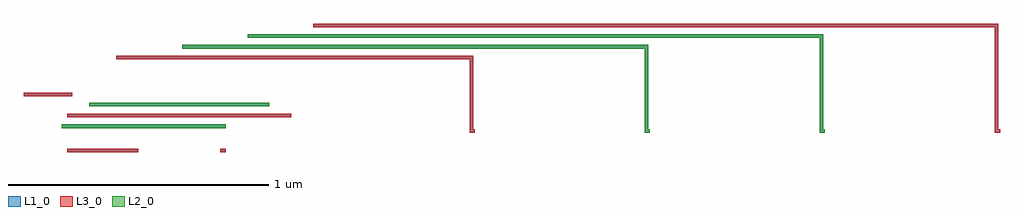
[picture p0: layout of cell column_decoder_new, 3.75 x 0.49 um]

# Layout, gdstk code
import gdstk
lib = gdstk.Library(unit=1e-6, precision=5e-10)
def R(c, l, rs):  # rectangles x0, y0, x1, y1
    for r in rs: c.add(gdstk.rectangle(r[:2], r[2:], *l))
def P(c, l, *ps):  # polygons
    for p in ps: c.add(gdstk.Polygon(p, *l))
L1_0 = (1, 0)
L2_0 = (2, 0)
L3_0 = (3, 0)

column_decoder_new = lib.new_cell('column_decoder_new')
R(column_decoder_new, L1_0, [(-1.493,0.062,-1.221,0.076), (-0.905,0.062,-0.885,0.076), (-1.514,0.1555,-0.885,0.1695), (-1.493,0.1975,-0.633,0.2115), (-1.409,0.2385,-0.717,0.2525), (-1.659,0.277,-1.473,0.291)])
P(column_decoder_new, L1_0, [(2.0825,0.557),(2.0825,0.151),(2.0885,0.151),(2.0885,0.137),(2.0685,0.137),(2.0685,0.543),(-0.548,0.543),(-0.548,0.557)],
  [(1.4105,0.516),(1.4105,0.151),(1.4165,0.151),(1.4165,0.137),(1.3965,0.137),(1.3965,0.502),(-0.8,0.502),(-0.8,0.516)],
  [(0.7385,0.475),(0.7385,0.151),(0.7445,0.151),(0.7445,0.137),(0.7245,0.137),(0.7245,0.461),(-1.052,0.461),(-1.052,0.475)],
  [(0.0665,0.434),(0.0665,0.151),(0.0725,0.151),(0.0725,0.137),(0.0525,0.137),(0.0525,0.42),(-1.304,0.42),(-1.304,0.434)])
R(column_decoder_new, L2_0, [(-1.514,0.1555,-0.885,0.1695), (-1.409,0.2385,-0.717,0.2525)])
P(column_decoder_new, L2_0, [(1.4105,0.516),(1.4105,0.151),(1.4165,0.151),(1.4165,0.137),(1.3965,0.137),(1.3965,0.502),(-0.8,0.502),(-0.8,0.516)],
  [(0.7385,0.475),(0.7385,0.151),(0.7445,0.151),(0.7445,0.137),(0.7245,0.137),(0.7245,0.461),(-1.052,0.461),(-1.052,0.475)])
R(column_decoder_new, L3_0, [(-1.493,0.062,-1.221,0.076), (-0.905,0.062,-0.885,0.076), (-1.493,0.1975,-0.633,0.2115), (-1.659,0.277,-1.473,0.291)])
P(column_decoder_new, L3_0, [(2.0825,0.557),(2.0825,0.151),(2.0885,0.151),(2.0885,0.137),(2.0685,0.137),(2.0685,0.543),(-0.548,0.543),(-0.548,0.557)],
  [(0.0665,0.434),(0.0665,0.151),(0.0725,0.151),(0.0725,0.137),(0.0525,0.137),(0.0525,0.42),(-1.304,0.42),(-1.304,0.434)])

lib.write_gds('column_decoder_new.gds')
